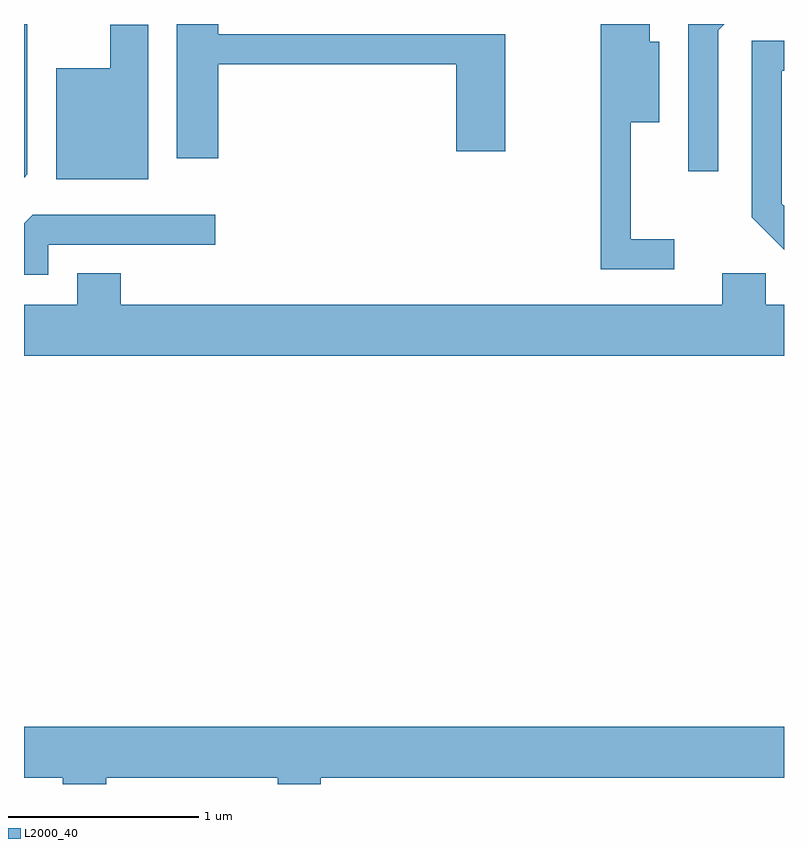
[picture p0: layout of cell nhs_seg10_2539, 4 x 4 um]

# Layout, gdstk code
import gdstk
lib = gdstk.Library(unit=1e-6, precision=1e-09)
def P(c, l, *ps):  # polygons
    for p in ps: c.add(gdstk.Polygon(p, *l))
L2000_40 = (2000, 40)

nhs_seg10_2539 = lib.new_cell('nhs_seg10_2539')
P(nhs_seg10_2539, L2000_40, [(259.629,2143.732),(259.629,2144.522),(259.611,2144.522),(259.611,2143.714)],
  [(260.634,2144.311),(261.886,2144.311),(261.886,2143.851),(262.144,2143.851),(262.144,2144.469),(260.634,2144.469),(260.634,2144.522),(260.416,2144.522),(260.416,2143.816),(260.634,2143.816)],
  [(263.264,2144.489),(263.297,2144.522),(263.106,2144.522),(263.106,2143.748),(263.264,2143.748)],
  [(263.033,2143.389),(262.804,2143.389),(262.804,2144.006),(262.954,2144.006),(262.954,2144.429),(262.904,2144.429),(262.904,2144.522),(262.646,2144.522),(262.646,2143.231),(263.033,2143.231)],
  [(260.264,2144.519),(260.066,2144.519),(260.066,2144.289),(259.781,2144.289),(259.781,2143.706),(260.264,2143.706)],
  [(263.611,2143.565),(263.599,2143.577),(263.599,2144.276),(263.611,2144.276),(263.611,2144.434),(263.441,2144.434),(263.441,2143.504),(263.611,2143.334)],
  [(259.739,2143.361),(260.618,2143.361),(260.618,2143.519),(259.657,2143.519),(259.611,2143.474),(259.611,2143.201),(259.739,2143.201)],
  [(263.611,2143.044),(263.514,2143.044),(263.514,2143.209),(263.286,2143.209),(263.286,2143.044),(260.119,2143.044),(260.119,2143.209),(259.891,2143.209),(259.891,2143.044),(259.611,2143.044),(259.611,2142.776),(263.611,2142.776)],
  [(260.044,2140.556),(260.946,2140.556),(260.946,2140.522),(261.174,2140.522),(261.174,2140.556),(263.611,2140.556),(263.611,2140.824),(259.611,2140.824),(259.611,2140.556),(259.816,2140.556),(259.816,2140.522),(260.044,2140.522)])

lib.write_gds('nhs_seg10_2539.gds')
